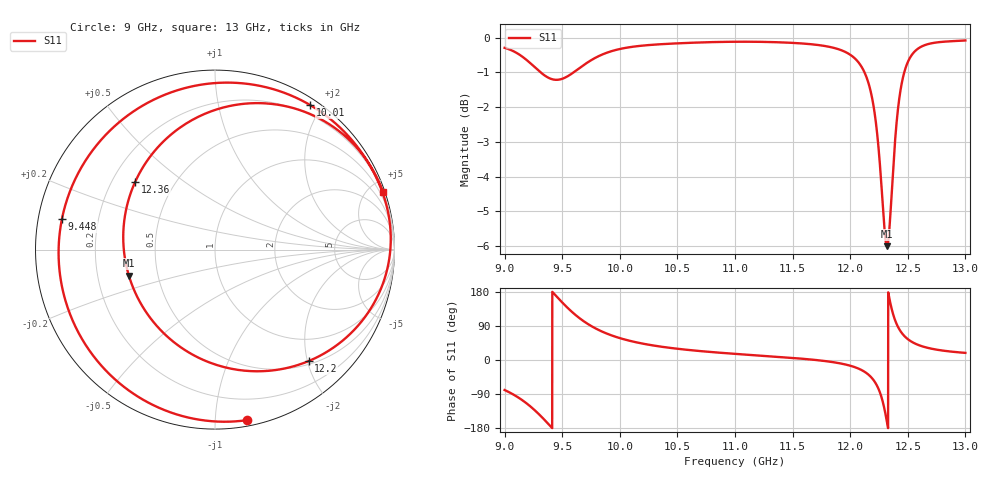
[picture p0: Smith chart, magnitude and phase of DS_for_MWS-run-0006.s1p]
! TOUCHSTONE file generated by CST DESIGN STUDIO
! Date and time: Tue Feb  4 12:51:34 2025
! Project name: C:\Work\MatlabApps\UnitCellOptimizationMatlab\CST\unitcell.cst
! Tree item: Tasks\Sweep1\SPara1\S-Parameters
! Header version: 2024
! Port assignment regex: !\s*Touchstone port\s*([0-9]+)\s*=\s*(CST MWS port|CST DES external port|CST DES block port)\s*(.+)\s* \(\"(.*)\"\)(\s*mode\s*([0-9]+))?.*
! Touchstone port assignment:
! Touchstone port 1 = CST DES external port 1 ("")
# GHz S MA R 50
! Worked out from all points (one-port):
!   4001 points, 9 GHz to 13 GHz, reference 50 ohm
!   lowest |S11| = -6.0 dB at 12.32 GHz (marker M1), VSWR 3.01, Z = 16.9 - j6.54 ohm
!   |S11| at or under -10 dB: nowhere
!   S11 on the Smith chart (normalised r, x): 9 GHz: 0.04, -1.21; 9.448 GHz: 0.07, +0.10; 10.01 GHz: 0.08, +1.85; 12.2 GHz: 0.56, -2.02; 12.36 GHz: 0.30, +0.34; 13 GHz: 0.17, +6.04
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9  0.9669 -79.2
9.125  0.9462 -100.2
9.226  0.9182 -123.1
9.348  0.8823 -158.5
9.448  0.8697 168.7
9.5  0.8726 151.9
9.597  0.891 123.6
9.698  0.9161 99.9
9.845  0.9453 75.2
10  0.9632 57.8
10.012  0.9641 56.7
10.22  0.9748 42.0
10.5  0.9814 29.7
11  0.9866 16.2
11.5  0.9829 5.4
12  0.9451 -15.0
12.117  0.8966 -29.6
12.195  0.8109 -50.0
12.265  0.6337 -91.6
12.291  0.5486 -120.5
12.319  0.5013 -163.2
12.356  0.5825 140.0
12.384  0.6908 109.8
12.413  0.7848 88.5
12.5  0.9222 55.1
12.569  0.9586 42.6
12.663  0.9776 32.8
13  0.9908 18.8
